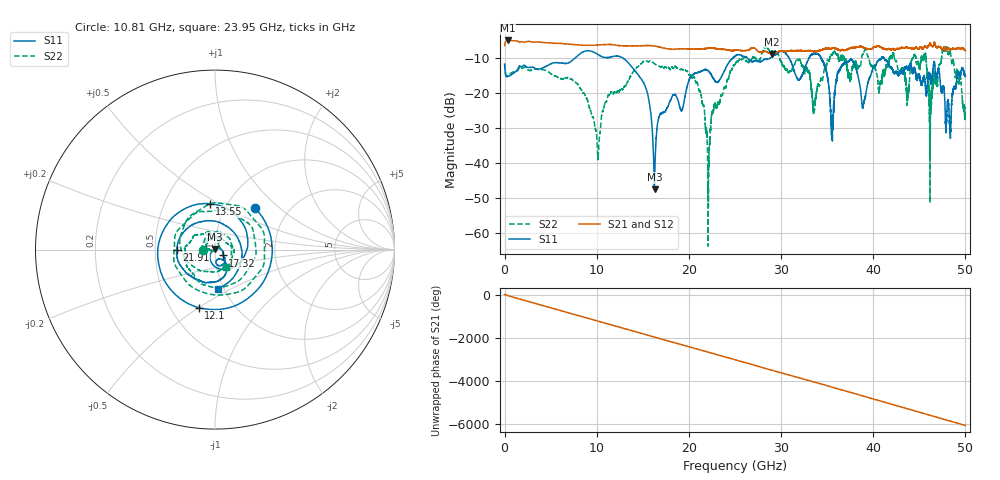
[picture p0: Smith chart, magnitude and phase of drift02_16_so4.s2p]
!Created with skrf (http://scikit-rf.org).
# Hz S RI R 50.0
!freq ReS11 ImS11 ReS21 ImS21 ReS12 ImS12 ReS22 ImS22
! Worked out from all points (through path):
!   10001 points, 300 kHz to 50 GHz, reference 50 ohm
!   highest |S21| = -5.04 dB at 325.3 MHz (marker M1); lowest = -8.9 dB at 29.05 GHz (marker M2)
!   group delay of S21, straight-line fit = 336 ps
!   lowest |S11| = -47.5 dB at 16.27 GHz (marker M3), VSWR 1.01, Z = 50 + j0.423 ohm
!   |S11| at or under -10 dB: start of sweep to 7.668 GHz; 12.81 GHz to 24.77 GHz (11.96 GHz wide, 63.6 % of centre); 41.13 GHz to end of sweep (the widest 3 of 12)
!   |S22| runs from -63.7 to -6.8 dB; largest |S21 - S12| = 0.032
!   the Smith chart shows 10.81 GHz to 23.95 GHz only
!   S11 on the Smith chart (normalised r, x): 10.81 GHz: 1.37, +0.70; 12.1 GHz: 0.69, -0.50; 13.55 GHz: 0.83, +0.45; 17.32 GHz: 1.09, -0.07; 21.91 GHz: 0.65, -0.00; 23.95 GHz: 0.93, -0.43
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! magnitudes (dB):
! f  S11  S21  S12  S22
! 300 kHz  -11.8  -6.5  -6.5  -11.6
! 325.3 MHz  -15.4  -5.0  -5.0  -15.1
! 8.335 GHz  -8.6  -6.4  -6.4  -19.1
! 10.11 GHz  -9.0  -6.4  -6.3  -37.9
! 10.81 GHz  -9.8  -6.2  -6.2  -23.8
! 12.1 GHz  -9.5  -6.4  -6.4  -20.3
! 13.55 GHz  -11.8  -6.6  -6.6  -15.9
! 16.27 GHz  -47.5  -6.6  -6.6  -11.7
! 16.67 GHz  -27.6  -6.9  -6.8  -12.2
! 17.32 GHz  -25.5  -7.3  -7.2  -12.8
! 20.74 GHz  -14.3  -7.5  -7.5  -17.0
! 21.91 GHz  -13.4  -7.3  -7.3  -31.4
! 23.95 GHz  -13.2  -7.6  -7.6  -18.7
! 25 GHz  -9.6  -7.9  -7.9  -11.8
! 29.05 GHz  -9.6  -8.9  -8.9  -8.2
! 33.34 GHz  -9.1  -8.0  -8.0  -20.3
! 35.54 GHz  -32.3  -7.3  -7.3  -9.2
! 36.8 GHz  -11.9  -7.8  -7.8  -9.6
! 41.67 GHz  -11.9  -7.4  -7.5  -11.8
! 46.24 GHz  -16.6  -6.0  -6.1  -23.4
! 48.13 GHz  -21.9  -7.2  -7.1  -9.0
! 50 GHz  -15.3  -7.9  -7.9  -24.2
